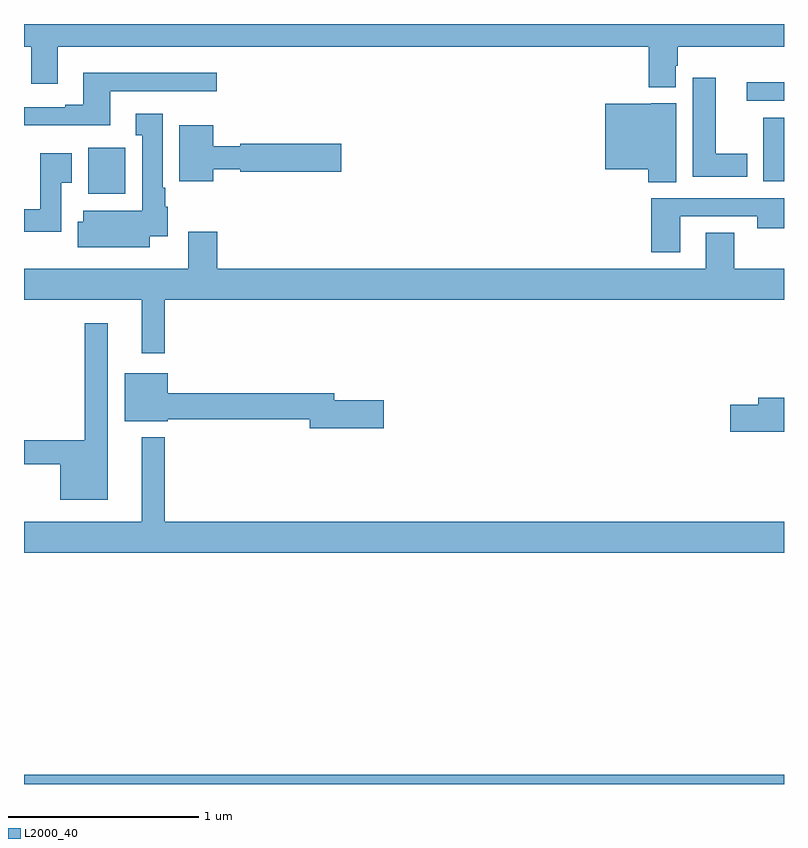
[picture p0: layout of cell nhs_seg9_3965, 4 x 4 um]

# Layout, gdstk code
import gdstk
lib = gdstk.Library(unit=1e-6, precision=1e-09)
def R(c, l, rs):  # rectangles x0, y0, x1, y1
    for r in rs: c.add(gdstk.rectangle(r[:2], r[2:], *l))
def P(c, l, *ps):  # polygons
    for p in ps: c.add(gdstk.Polygon(p, *l))
L2000_40 = (2000, 40)

nhs_seg9_3965 = lib.new_cell('nhs_seg9_3965')
R(nhs_seg9_3965, L2000_40, [(337,1232.5,341,1232.548), (337.337,1235.606,337.534,1235.848), (340.892,1235.672,341,1236.007), (340.803,1236.096,341,1236.194)])
P(nhs_seg9_3965, L2000_40, [(340.429,1236.279),(340.442,1236.279),(340.442,1236.38),(341,1236.38),(341,1236.5),(337,1236.5),(337,1236.38),(337.037,1236.38),(337.037,1236.186),(337.177,1236.186),(337.177,1236.38),(340.289,1236.38),(340.289,1236.167),(340.429,1236.167)],
  [(337.453,1236.147),(338.014,1236.147),(338.014,1236.244),(337.313,1236.244),(337.313,1236.076),(337.217,1236.076),(337.217,1236.063),(337,1236.063),(337,1235.966),(337.453,1235.966)],
  [(340.807,1235.818),(340.642,1235.818),(340.642,1236.217),(340.52,1236.217),(340.52,1235.696),(340.807,1235.696)],
  [(340.432,1236.082),(340.302,1236.082),(340.302,1236.079),(340.058,1236.079),(340.058,1235.735),(340.286,1235.735),(340.286,1235.668),(340.432,1235.668)],
  [(337.663,1235.384),(337.756,1235.384),(337.756,1235.538),(337.744,1235.538),(337.744,1235.638),(337.729,1235.638),(337.729,1236.028),(337.589,1236.028),(337.589,1235.915),(337.622,1235.915),(337.622,1235.518),(337.313,1235.518),(337.313,1235.459),(337.283,1235.459),(337.283,1235.324),(337.663,1235.324)],
  [(337.996,1235.736),(338.139,1235.736),(338.139,1235.723),(338.671,1235.723),(338.671,1235.87),(338.139,1235.87),(338.139,1235.857),(337.996,1235.857),(337.996,1235.968),(337.817,1235.968),(337.817,1235.672),(337.996,1235.672)],
  [(337.195,1235.665),(337.252,1235.665),(337.252,1235.821),(337.085,1235.821),(337.085,1235.524),(337,1235.524),(337,1235.406),(337.195,1235.406)],
  [(340.453,1235.487),(340.858,1235.487),(340.858,1235.424),(341,1235.424),(341,1235.583),(340.301,1235.583),(340.301,1235.298),(340.453,1235.298)],
  [(337.741,1235.048),(341,1235.048),(341,1235.212),(340.737,1235.212),(340.737,1235.402),(340.589,1235.402),(340.589,1235.212),(338.018,1235.212),(338.018,1235.407),(337.865,1235.407),(337.865,1235.212),(337,1235.212),(337,1235.048),(337.619,1235.048),(337.619,1234.767),(337.741,1234.767)],
  [(337.441,1234.924),(337.32,1234.924),(337.32,1234.31),(337,1234.31),(337,1234.182),(337.19,1234.182),(337.19,1233.995),(337.441,1233.995)],
  [(338.893,1234.52),(338.632,1234.52),(338.632,1234.556),(337.756,1234.556),(337.756,1234.663),(337.529,1234.663),(337.529,1234.409),(337.756,1234.409),(337.756,1234.42),(338.504,1234.42),(338.504,1234.373),(338.893,1234.373)],
  [(341,1234.532),(340.865,1234.532),(340.865,1234.496),(340.716,1234.496),(340.716,1234.354),(341,1234.354)],
  [(341,1233.88),(337.741,1233.88),(337.741,1234.324),(337.619,1234.324),(337.619,1233.88),(337,1233.88),(337,1233.716),(341,1233.716)])

lib.write_gds('nhs_seg9_3965.gds')
